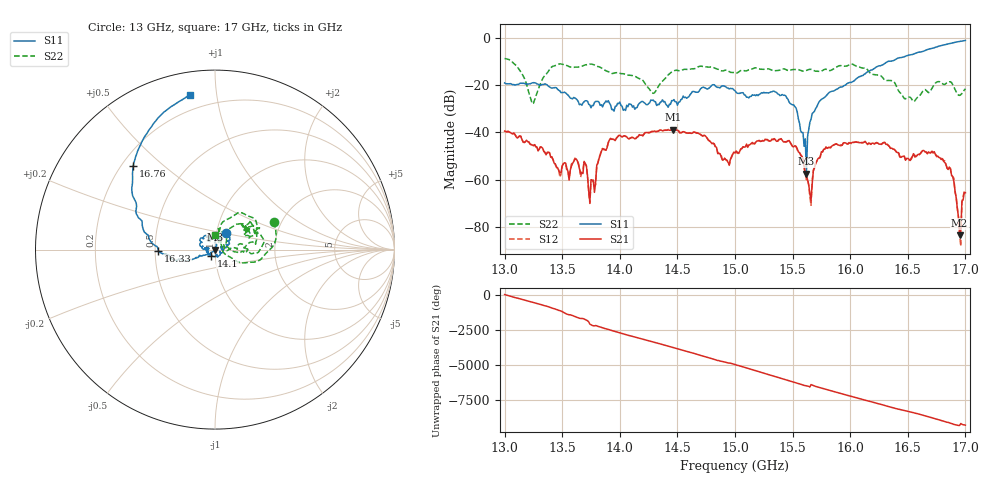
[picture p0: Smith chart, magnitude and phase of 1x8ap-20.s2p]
!Keysight Technologies,P9374A,MY57211807,A.19.30.04
!Date: Friday, May 08, 2026 15:41:23
!Correction: S11(C  2-Port  )
!S21(C  2-Port  )
!S12(C  2-Port  )
!S22(C  2-Port  )
!S2P File: Measurements: S11, S21, S12, S22:
# Hz S  dB  R 50
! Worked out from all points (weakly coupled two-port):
!   401 points, 13 GHz to 17 GHz, reference 50 ohm
!   highest |S21| = -38.76 dB at 14.46 GHz (marker M1); lowest = -83.3 dB at 16.95 GHz (marker M2)
!   lowest |S11| = -57.4 dB at 15.62 GHz (marker M3), VSWR 1.00, Z = 50.1 + j0.0521 ohm
!   |S11| at or under -10 dB: start of sweep to 16.33 GHz
!   |S22| runs from -27.9 to -8.8 dB; largest |S21 - S12| = 0.00056
!   S11 on the Smith chart (normalised r, x): 13 GHz: 1.11, +0.21; 14.1 GHz: 0.96, -0.06; 16.33 GHz: 0.52, -0.01; 16.76 GHz: 0.25, +0.40; 17 GHz: 0.12, +0.84
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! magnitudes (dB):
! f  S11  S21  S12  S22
! 13 GHz  -19.1  -39.4  -39.6  -8.8
! 13.24 GHz  -19.1  -45.3  -45.1  -27.9
! 13.41 GHz  -21.3  -50.3  -50.4  -12.3
! 13.67 GHz  -28.5  -57.0  -56.7  -12.0
! 13.75 GHz  -29.6  -59.9  -61.0  -11.1
! 13.92 GHz  -28.4  -42.6  -42.5  -14.9
! 14.1 GHz  -28.2  -42.2  -42.1  -15.9
! 14.34 GHz  -28.3  -39.3  -39.2  -20.1
! 14.46 GHz  -26.6  -38.8  -38.7  -14.2
! 15 GHz  -22.4  -48.7  -48.6  -14.8
! 15.43 GHz  -24.2  -43.9  -44.0  -13.2
! 15.55 GHz  -34.2  -48.2  -48.3  -13.5
! 15.62 GHz  -57.4  -58.5  -60.0  -13.8
! 15.67 GHz  -32.0  -61.8  -60.2  -13.5
! 15.79 GHz  -24.6  -46.1  -46.1  -13.3
! 16.33 GHz  -10.0  -45.4  -45.3  -18.0
! 16.34 GHz  -10.0  -45.9  -45.8  -18.1
! 16.55 GHz  -6.9  -48.9  -49.0  -27.0
! 16.76 GHz  -3.7  -50.1  -50.0  -18.6
! 16.88 GHz  -2.3  -58.0  -58.0  -19.0
! 16.95 GHz  -1.6  -83.3  -83.7  -24.4
! 17 GHz  -1.2  -65.4  -64.5  -21.6
